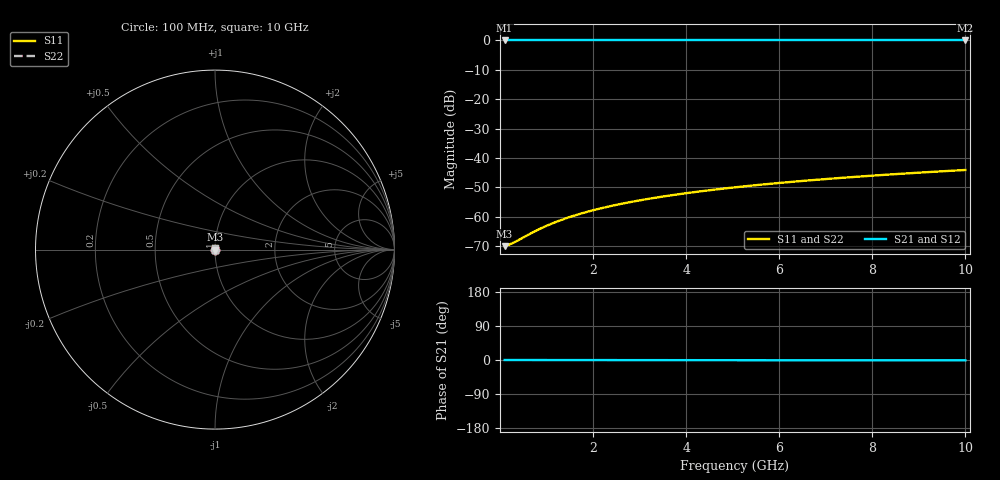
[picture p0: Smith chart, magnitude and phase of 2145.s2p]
# Hz S RI R 50.00
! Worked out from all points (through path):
!   100 points, 100 MHz to 10 GHz, reference 50 ohm
!   highest |S21| = 0.00 dB at 100 MHz (marker M1); lowest = 0.0 dB at 10 GHz (marker M2)
!   lowest |S11| = -70.0 dB at 100 MHz (marker M3), VSWR 1.00, Z = 50 + j0.00624 ohm
!   |S11| at or under -10 dB: start of sweep to end of sweep
!   |S22| runs from -70.0 to -44.1 dB; largest |S21 - S12| = 0
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1e8  0.00031 6.23e-05  0.9997 -0.000179  0.9997 -0.000179  0.00031 6.23e-05
2e8  0.000312 0.000125  0.9997 -0.000357  0.9997 -0.000357  0.000312 0.000125
3e8  0.000313 0.000187  0.9997 -0.000536  0.9997 -0.000536  0.000313 0.000187
6e8  0.000317 0.000374  0.9997 -0.00107  0.9997 -0.00107  0.000317 0.000374
8e8  0.000319 0.000499  0.9997 -0.00143  0.9997 -0.00143  0.000319 0.000499
9e8  0.000319 0.000561  0.9997 -0.00161  0.9997 -0.00161  0.000319 0.000561
1.1e9  0.000321 0.000686  0.9997 -0.00196  0.9997 -0.00196  0.000321 0.000686
1.4e9  0.000323 0.000873  0.9997 -0.0025  0.9997 -0.0025  0.000323 0.000873
1.6e9  0.000325 0.000997  0.9997 -0.00286  0.9997 -0.00286  0.000325 0.000997
1.8e9  0.000327 0.00112  0.9997 -0.00322  0.9997 -0.00322  0.000327 0.00112
2.1e9  0.000329 0.00131  0.9997 -0.00375  0.9997 -0.00375  0.000329 0.00131
2.5e9  0.000333 0.00156  0.9997 -0.00447  0.9997 -0.00447  0.000333 0.00156
2.9e9  0.000336 0.00181  0.9997 -0.00518  0.9997 -0.00518  0.000336 0.00181
3.4e9  0.000341 0.00212  0.9996 -0.00607  0.9996 -0.00607  0.000341 0.00212
3.8e9  0.000346 0.00237  0.9996 -0.00679  0.9996 -0.00679  0.000346 0.00237
4.2e9  0.00035 0.00262  0.9996 -0.0075  0.9996 -0.0075  0.00035 0.00262
5.1e9  0.000362 0.00318  0.9996 -0.00911  0.9996 -0.00911  0.000362 0.00318
5.9e9  0.000374 0.00368  0.9996 -0.0105  0.9996 -0.0105  0.000374 0.00368
6.7e9  0.000387 0.00418  0.9996 -0.012  0.9996 -0.012  0.000387 0.00418
7.5e9  0.000402 0.00468  0.9996 -0.0134  0.9996 -0.0134  0.000402 0.00468
8.4e9  0.00042 0.00524  0.9995 -0.015  0.9995 -0.015  0.00042 0.00524
1e10  0.000457 0.00624  0.9995 -0.0179  0.9995 -0.0179  0.000457 0.00624
